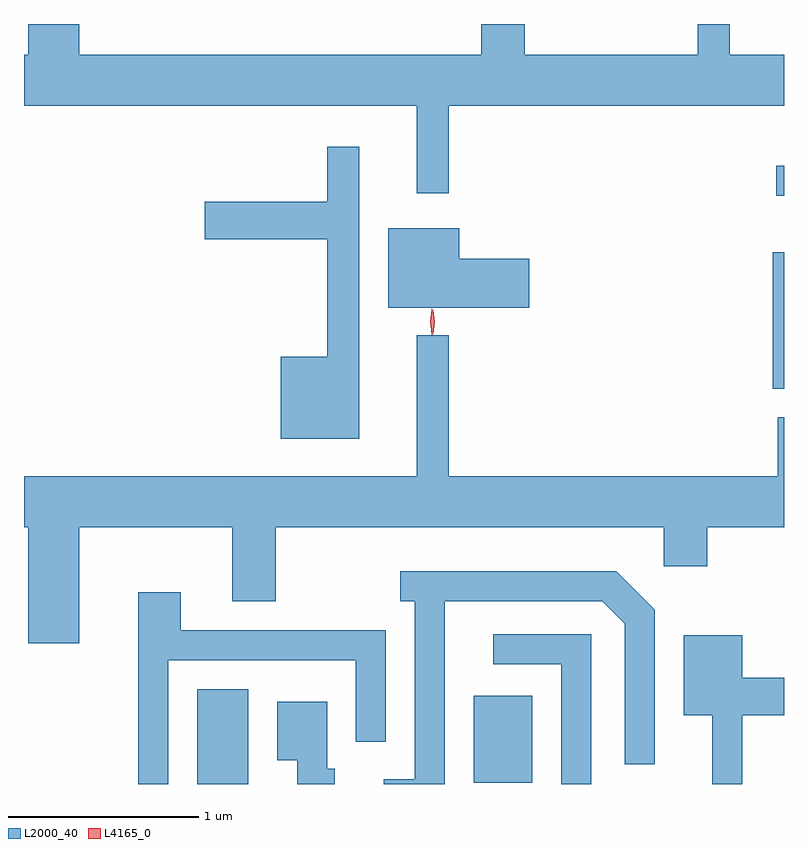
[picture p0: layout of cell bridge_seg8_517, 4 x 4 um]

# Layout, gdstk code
import gdstk
lib = gdstk.Library(unit=1e-6, precision=1e-09)
def R(c, l, rs):  # rectangles x0, y0, x1, y1
    for r in rs: c.add(gdstk.rectangle(r[:2], r[2:], *l))
def P(c, l, *ps):  # polygons
    for p in ps: c.add(gdstk.Polygon(p, *l))
L2000_40 = (2000, 40)
L4165_0 = (4165, 0)

bridge_seg8_517 = lib.new_cell('bridge_seg8_517')
R(bridge_seg8_517, L2000_40, [(255.926,1837.285,256.194,1837.784), (257.381,1837.291,257.689,1837.749), (258.956,1839.366,259.014,1840.084), (258.973,1840.381,259.014,1840.539)])
P(bridge_seg8_517, L2000_40, [(257.249,1840.856),(259.014,1840.856),(259.014,1841.124),(258.729,1841.124),(258.729,1841.285),(258.561,1841.285),(258.561,1841.124),(257.649,1841.124),(257.649,1841.285),(257.421,1841.285),(257.421,1841.124),(255.304,1841.124),(255.304,1841.285),(255.036,1841.285),(255.036,1841.124),(255.014,1841.124),(255.014,1840.856),(257.081,1840.856),(257.081,1840.393),(257.249,1840.393)],
  [(256.779,1840.638),(256.611,1840.638),(256.611,1840.349),(255.966,1840.349),(255.966,1840.151),(256.611,1840.151),(256.611,1839.534),(256.366,1839.534),(256.366,1839.101),(256.779,1839.101)],
  [(257.674,1840.049),(257.304,1840.049),(257.304,1840.209),(256.931,1840.209),(256.931,1839.791),(257.674,1839.791)],
  [(255.304,1838.636),(256.111,1838.636),(256.111,1838.246),(256.339,1838.246),(256.339,1838.636),(258.381,1838.636),(258.381,1838.431),(258.609,1838.431),(258.609,1838.636),(259.014,1838.636),(259.014,1839.214),(258.981,1839.214),(258.981,1838.904),(257.249,1838.904),(257.249,1839.648),(257.081,1839.648),(257.081,1838.904),(255.014,1838.904),(255.014,1838.636),(255.036,1838.636),(255.036,1838.026),(255.304,1838.026)],
  [(257.229,1838.246),(258.058,1838.246),(258.176,1838.129),(258.176,1837.388),(258.334,1837.388),(258.334,1838.202),(258.132,1838.404),(256.993,1838.404),(256.993,1838.246),(257.071,1838.246),(257.071,1837.309),(256.908,1837.309),(256.908,1837.285),(257.229,1837.285)],
  [(255.774,1837.936),(256.761,1837.936),(256.761,1837.508),(256.919,1837.508),(256.919,1838.094),(255.839,1838.094),(255.839,1838.294),(255.616,1838.294),(255.616,1837.285),(255.774,1837.285)],
  [(257.999,1838.074),(257.483,1838.074),(257.483,1837.916),(257.841,1837.916),(257.841,1837.285),(257.999,1837.285)],
  [(258.794,1837.646),(259.014,1837.646),(259.014,1837.844),(258.794,1837.844),(258.794,1838.069),(258.486,1838.069),(258.486,1837.646),(258.636,1837.646),(258.636,1837.285),(258.794,1837.285)],
  [(256.649,1837.364),(256.609,1837.364),(256.609,1837.719),(256.346,1837.719),(256.346,1837.411),(256.451,1837.411),(256.451,1837.285),(256.649,1837.285)])
P(bridge_seg8_517, L4165_0, [(257.167,1839.653),(257.167,1839.654),(257.157,1839.716),(257.167,1839.78),(257.167,1839.78),(257.168,1839.78),(257.177,1839.716),(257.168,1839.654)],
  [(257.161,1839.65),(257.151,1839.718),(257.161,1839.785),(257.161,1839.786),(257.162,1839.785),(257.171,1839.718),(257.162,1839.65),(257.162,1839.65)])

lib.write_gds('bridge_seg8_517.gds')
